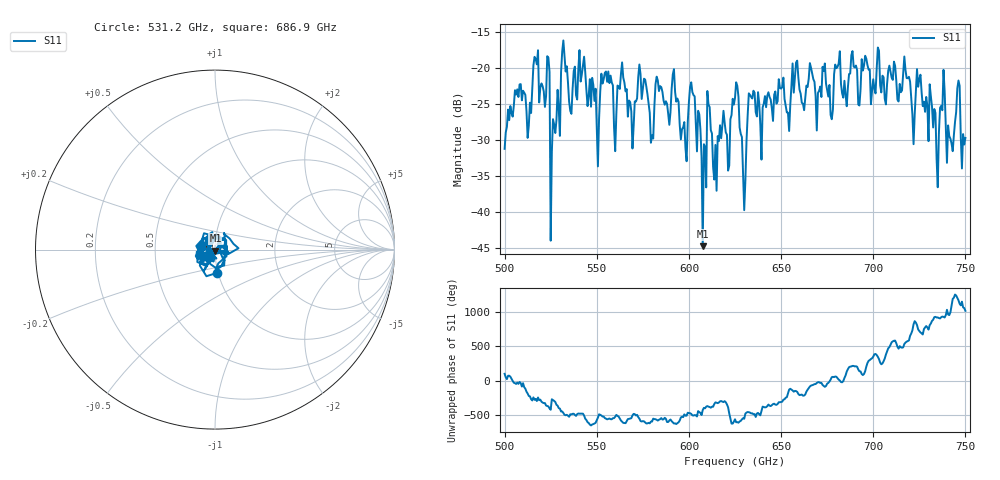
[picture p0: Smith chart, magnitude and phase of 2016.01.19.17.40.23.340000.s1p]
!Created with skrf (http://scikit-rf.org).
# GHz S RI R 50.0
!freq ReS11 ImS11
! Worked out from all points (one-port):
!   401 points, 500 GHz to 750 GHz, reference 50 ohm
!   lowest |S11| = -44.7 dB at 607.5 GHz (marker M1), VSWR 1.01, Z = 50.2 - j0.529 ohm
!   |S11| at or under -10 dB: start of sweep to end of sweep
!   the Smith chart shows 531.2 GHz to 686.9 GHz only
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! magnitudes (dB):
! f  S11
! 500 GHz  -31.2
! 507.5 GHz  -24.0
! 513.1 GHz  -28.0
! 516.9 GHz  -18.7
! 523.1 GHz  -18.3
! 526.2 GHz  -27.1
! 531.2 GHz  -17.7
! 541.9 GHz  -20.9
! 550 GHz  -28.1
! 553.8 GHz  -21.5
! 562.5 GHz  -22.9
! 580 GHz  -29.3
! 583.1 GHz  -21.7
! 593.8 GHz  -24.2
! 597.5 GHz  -27.5
! 601.9 GHz  -23.3
! 607.5 GHz  -44.7
! 611.2 GHz  -25.4
! 614.4 GHz  -30.7
! 625 GHz  -24.1
! 630 GHz  -39.7
! 633.8 GHz  -24.0
! 656.2 GHz  -19.3
! 687.5 GHz  -20.7
! 718.8 GHz  -21.4
! 733.8 GHz  -26.2
! 737.5 GHz  -25.8
! 750 GHz  -29.7
